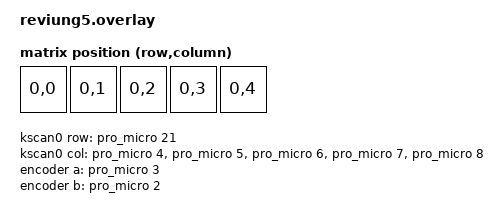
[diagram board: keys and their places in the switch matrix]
#include <dt-bindings/led/led.h>
#include <dt-bindings/zmk/matrix_transform.h>

#include <physical_layouts.dtsi>

&pinctrl {
  spi3_default: spi3_default {
    group1 {
      psels = <NRF_PSEL(SPIM_MOSI, 0, 6)>;
    };
  };

  spi3_sleep: spi3_sleep {
    group1 {
      psels = <NRF_PSEL(SPIM_MOSI, 0, 6)>;
      low-power-enable;
    };
  };
};

&spi3 {
  compatible = "nordic,nrf-spim";
  status = "okay";

  pinctrl-0 = <&spi3_default>;
  pinctrl-1 = <&spi3_sleep>;
  pinctrl-names = "default", "sleep";

  led_strip: ws2812@0 {
    compatible = "worldsemi,ws2812-spi";
    label = "WS2812";

    /* SPI */
    reg = <0>; /* ignored, but necessary for SPI bindings */
    spi-max-frequency = <4000000>;

    /* WS2812 */
    chain-length = <4>; /* arbitrary; change at will */
    spi-one-frame = <0x70>;
    spi-zero-frame = <0x40>;

    color-mapping = <LED_COLOR_ID_GREEN LED_COLOR_ID_RED LED_COLOR_ID_BLUE>;
  };
};

/ {
  chosen {
    zmk,underglow = &led_strip;
    
    zmk,kscan = &kscan0;
    zmk,matrix_transform = &default_transform;
  };

  layout: layout {
    compatible = "zmk,physical-layout";
    display-name = "#corne_42";

    transform = <&default_transform>;

    keys  //                        w       h      x        y      rot    rx    ry
        = <&key_physical_attrs     100     100        0       0     0     0     0>
        , <&key_physical_attrs     100     100      100       0     0     0     0>
        , <&key_physical_attrs     100     100      200       0     0     0     0>
        , <&key_physical_attrs     100     100      300       0     0     0     0>
        , <&key_physical_attrs     100     100      400       0     0     0     0>
        ;
  };

  default_transform: keymap_transform_0 {
    compatible = "zmk,matrix-transform";
    columns = <5>;
    rows = <1>;

    map = <RC(0,0) RC(0,1) RC(0,2) RC(0,3) RC(0,4)>;
  };

  kscan0: kscan_0 {
    compatible = "zmk,kscan-gpio-matrix";
    label = "KSCAN";
    diode-direction = "col2row";

    col-gpios
      = <&pro_micro 4 GPIO_ACTIVE_HIGH>
      , <&pro_micro 5 GPIO_ACTIVE_HIGH>
      , <&pro_micro 6 GPIO_ACTIVE_HIGH>
      , <&pro_micro 7 GPIO_ACTIVE_HIGH>
      , <&pro_micro 8 GPIO_ACTIVE_HIGH>
      ;

    row-gpios
      = <&pro_micro 21 (GPIO_ACTIVE_HIGH | GPIO_PULL_DOWN)>
      ;
  };

  encoder: encoder {
    compatible = "alps,ec11";
    label = "encoder";
    a-gpios = <&pro_micro 3 (GPIO_ACTIVE_HIGH | GPIO_PULL_UP)>;
    b-gpios = <&pro_micro 2 (GPIO_ACTIVE_HIGH | GPIO_PULL_UP)>;
    resolution = <1>;
    status = "okay";
  };

  sensors {
    compatible = "zmk,keymap-sensors";
    sensors = <&encoder>;
  };
};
